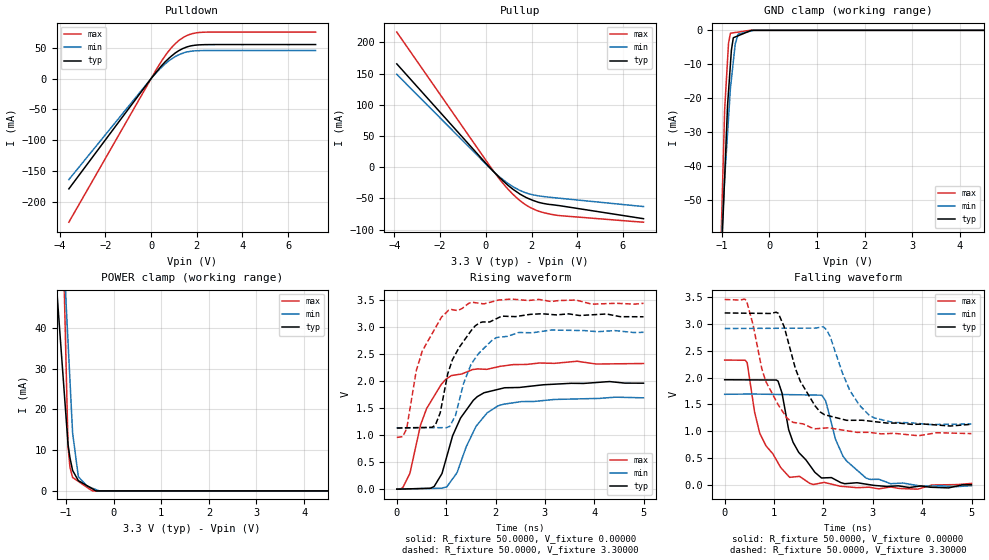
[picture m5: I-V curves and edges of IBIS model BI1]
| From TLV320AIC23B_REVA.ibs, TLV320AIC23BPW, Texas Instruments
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[Model] BI1
Model_type I/O
Vref=0.00000V
Rref=1.00000Gohms
Cref=20.0000pF
Vmeas=1.65000V
Vinl = 990.000mV
Vinh = 2.31000V
C_comp 2.00000pF 2.00000pF 2.00000pF
| variable typ   min   max
[Voltage Range] 3.30000V 3.00000V 3.60000V
[POWER Clamp Reference] 3.30000V 3.00000V 3.60000V
[Pullup Reference] 3.30000V 3.00000V 3.60000V
[Pulldown Reference] 0.00000V 0.00000V 0.00000V
[GND Clamp Reference] 0.00000V 0.00000V 0.00000V
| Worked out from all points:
|   slope of the pulldown table from 0 to 0.495 V, typ, clamps not added: 22.1 ohm
|   slope of the pullup table from 0 to 0.495 V, typ, clamps not added: 25.9 ohm
|   GND clamp passes 1 mA (typ) near -0.55 V on its own axis
|   POWER clamp passes 1 mA (typ) near -0.52 V on its own axis
|   rising waveform, R_fixture 50.0000, V_fixture 0.00000: 20-80 % time 543ps typ, 543ps min, 541ps max; typ from 0 V to 1.97 V
|   falling waveform, R_fixture 50.0000, V_fixture 0.00000: 20-80 % time 512ps typ, 511ps min, 510ps max; typ from 1.96 V to 0.013 V
|   falling waveform, R_fixture 50.0000, V_fixture 3.30000: 20-80 % time 532ps typ, 514ps min, 529ps max; typ from 3.2 V to 1.13 V
|   rising waveform, R_fixture 50.0000, V_fixture 3.30000: 20-80 % time 478ps typ, 477ps min, 495ps max; typ from 1.13 V to 3.2 V
[GND Clamp]
-3.6V     -1.17A     -748.3mA   -1.371A
-1.003V   -64.49mA   -59.98mA   -54.23mA
-941.8mV  -43.34mA   -43.87mA   -23.43mA
-881mV    -22.18mA   -30.42mA   -8.736mA
-860.8mV  -18.09mA   -25.95mA   -3.844mA
-820.5mV  -9.938mA   -17.04mA   -853.1uA
-800.3mV  -5.859mA   -14.44mA   -811.1uA
-759.9mV  -2.183mA   -9.226mA   -727.1uA
-719.4mV  -1.951mA   -4.009mA   -642.9uA
-658.7mV  -1.602mA   -1.133mA   -516.7uA
-329.4mV  0A         0A         0A
7.2V      0A         0A         0A
[Pulldown]
-3.6V     -178.8mA   -163.8mA   -232.9mA
238.5mV   10.93mA    9.835mA    15.35mA
719.2mV   30.77mA    27mA       42.27mA
880.9mV   36.2mA     31.51mA    49.68mA
1.219V    45.35mA    38.72mA    61.86mA
1.422V    49.17mA    41.64mA    67.05mA
1.679V    52.47mA    43.88mA    71.45mA
2.18V     54.78mA    45.35mA    74.93mA
7.2V      55.12mA    45.55mA    75.36mA
[Pullup]
-3.9V     165.5mA    148.8mA    216.4mA
300mV     -5.49mA    -5.77mA    -4.496mA
917.5mV   -27.27mA   -24.61mA   -33.04mA
1.52V     -43.58mA   -37.65mA   -54.3mA
1.817V    -49.35mA   -41.83mA   -61.93mA
2.257V    -55.59mA   -45.53mA   -69.72mA
2.879V    -59.91mA   -48.38mA   -75.5mA
6.9V      -82.37mA   -62.92mA   -87.97mA
[POWER Clamp]
-3.9V     483.1mA    720.2mA    1.742A
-1.201V   50.29mA    92.89mA    128.9mA
-958.3mV  11.4mA     36.54mA    10.94mA
-917.8mV  8.133mA    27.13mA    5.782mA
-862.1mV  5.014mA    14.18mA    3.305mA
-741.1mV  2.525mA    3.47mA     2.334mA
-559.1mV  1.285mA    1.188mA    872.7uA
-442.4mV  489.5uA    651.8uA    0A
-370.6mV  0A         321.8uA    0A
-301mV    0A         2.297uA    0A
6.9V      0A         0A         0A
[Rising Waveform]
R_fixture = 50.0000
V_fixture = 0.00000
V_fixture_min = 0.00000
V_fixture_max = 0.00000
0s        379.2uV    582.9uV    899.3uV
125ps     3.446mV    3.044mV    33.79mV
265ps     6.881mV    5.801mV    291.4mV
480ps     12.16mV    10.03mV    1.187V
755ps     48.17mV    15.45mV    1.724V
915ps     288.9mV    19.78mV    1.958V
1.105ns   907.9mV    159.8mV    2.107V
1.55ns    1.648V     1.062V     2.22V
2.05ns    1.851V     1.546V     2.269V
4.995ns   1.965V     1.694V     2.33V
[Falling Waveform]
R_fixture = 50.0000
V_fixture = 0.00000
V_fixture_min = 0.00000
V_fixture_max = 0.00000
0s        1.959V     1.689V     2.324V
455ps     1.956V     1.694V     2.276V
605ps     1.956V     1.693V     1.359V
710ps     1.955V     1.692V     967.1mV
1.08ns    1.934V     1.686V     418mV
1.315ns   980.7mV    1.683V     149.5mV
1.965ns   137.9mV    1.673V     47.29mV
2.395ns   40.6mV     540.9mV    -19.42mV
2.865ns   23.03mV    133.8mV    -35.41mV
4.995ns   12.72mV    -4.793mV   37.09mV
[Falling Waveform]
R_fixture = 50.0000
V_fixture = 3.30000
V_fixture_min = 3.00000
V_fixture_max = 3.60000
0s        3.197V     2.909V     3.447V
445ps     3.192V     2.91V      3.415V
835ps     3.188V     2.912V     1.922V
1.085ns   3.191V     2.913V     1.493V
1.335ns   2.495V     2.914V     1.191V
1.53ns    1.932V     2.915V     1.149V
2.02ns    1.311V     2.921V     1.063V
2.535ns   1.207V     1.757V     1.004V
2.935ns   1.192V     1.293V     982.1mV
4.995ns   1.133V     1.139V     960.5mV
[Rising Waveform]
R_fixture = 50.0000
V_fixture = 3.30000
V_fixture_min = 3.00000
V_fixture_max = 3.60000
0s        1.133V     1.139V     960.5mV
200ps     1.137V     1.139V     1.121V
395ps     1.141V     1.14V      2.199V
780ps     1.186V     1.14V      2.988V
880ps     1.417V     1.141V     3.15V
1.05ns    2.19V      1.158V     3.318V
1.19ns    2.506V     1.372V     3.318V
1.505ns   2.939V     2.317V     3.46V
2.02ns    3.163V     2.813V     3.497V
4.995ns   3.197V     2.909V     3.447V
[Ramp]
| variable typ min max
dV/dt_r 1.17499/528.096p 1.01293/529.175p 1.39376/523.387p
dV/dt_f 1.23835/526.600p 1.06193/508.081p 1.49166/535.091p
R_load = 50.0000Ohms
